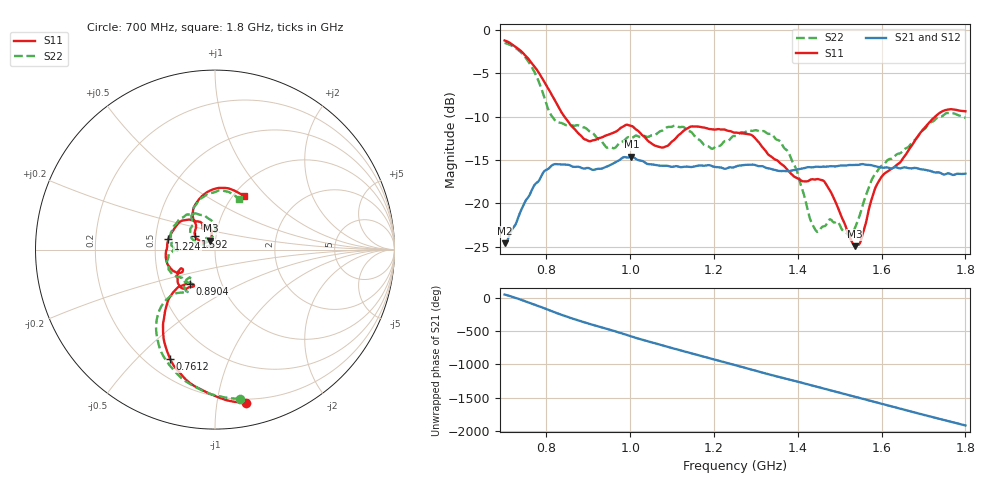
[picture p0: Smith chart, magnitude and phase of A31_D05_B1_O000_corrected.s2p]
! Created with skrf 1.9.0 (http://scikit-rf.org).
# Hz S RI R 50.0
!freq ReS11 ImS11 ReS21 ImS21 ReS12 ImS12 ReS22 ImS22
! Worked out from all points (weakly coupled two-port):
!   1601 points, 700 MHz to 1.8 GHz, reference 50 ohm
!   highest |S21| = -14.62 dB at 1.002 GHz (marker M1); lowest = -24.6 dB at 700 MHz (marker M2)
!   lowest |S11| = -24.9 dB at 1.536 GHz (marker M3), VSWR 1.12, Z = 47.3 + j4.8 ohm
!   |S11| at or under -10 dB: 842.7 MHz to 1.727 GHz (884.7 MHz wide, 68.8 % of centre)
!   |S22| runs from -23.7 to -1.5 dB; largest |S21 - S12| = 0.0034
!   S11 on the Smith chart (normalised r, x): 700 MHz: 0.17, -1.21; 761.2 MHz: 0.29, -0.63; 890.4 MHz: 0.71, -0.28; 1.224 GHz: 0.58, +0.08; 1.592 GHz: 0.79, +0.12; 1.8 GHz: 1.12, +0.75
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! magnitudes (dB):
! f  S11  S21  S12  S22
! 700 MHz  -1.2  -24.6  -24.4  -1.5
! 761.2 MHz  -3.6  -18.9  -18.8  -4.0
! 817.6 MHz  -7.9  -15.5  -15.6  -10.3
! 883.6 MHz  -12.3  -15.9  -15.8  -11.2
! 890.4 MHz  -12.6  -16.0  -15.9  -11.3
! 946.1 MHz  -12.1  -15.7  -15.7  -13.6
! 1.002 GHz  -11.1  -14.6  -14.7  -12.5
! 1.067 GHz  -13.5  -15.6  -15.6  -11.8
! 1.145 GHz  -11.1  -15.8  -15.8  -11.8
! 1.194 GHz  -11.4  -15.7  -15.6  -13.7
! 1.224 GHz  -11.5  -16.0  -16.0  -12.9
! 1.25 GHz  -11.8  -15.8  -15.7  -12.2
! 1.358 GHz  -15.4  -16.3  -16.2  -12.9
! 1.396 GHz  -17.0  -16.1  -16.1  -16.0
! 1.434 GHz  -17.2  -15.8  -15.8  -22.3
! 1.469 GHz  -17.9  -15.8  -15.7  -22.4
! 1.536 GHz  -24.9  -15.6  -15.6  -22.9
! 1.55 GHz  -24.3  -15.5  -15.5  -21.0
! 1.592 GHz  -17.6  -15.8  -15.8  -16.1
! 1.617 GHz  -16.2  -15.9  -15.9  -14.9
! 1.734 GHz  -9.7  -16.4  -16.5  -10.1
! 1.8 GHz  -9.4  -16.6  -16.6  -10.1
